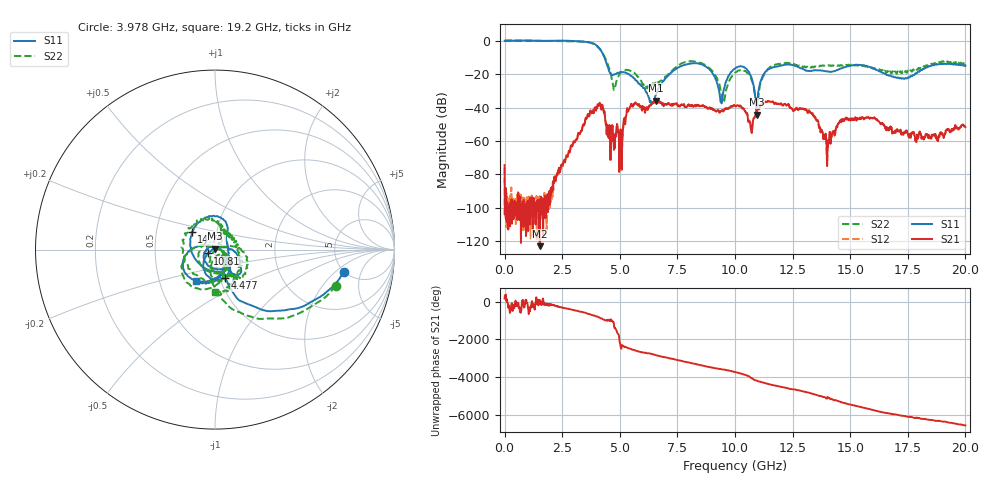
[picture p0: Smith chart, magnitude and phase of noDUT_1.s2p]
#  HZ  S  RI  R  50.00
! Rohde & Schwarz Vector Network Analyzer
! Rohde-Schwarz,ZNB20-2Port,1311601062102128,3.60
! Created: UTC 4/29/2024, 2:41:50 PM
! freq[Hz]  re:S11  im:S11  re:S21  im:S21  re:S12  im:S12  re:S22  im:S22
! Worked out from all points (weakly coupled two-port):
!   2007 points, 100 kHz to 20 GHz, reference 50 ohm
!   highest |S21| = -35.82 dB at 6.58 GHz (marker M1); lowest = -122.9 dB at 1.526 GHz (marker M2)
!   lowest |S11| = -44.3 dB at 10.94 GHz (marker M3), VSWR 1.01, Z = 49.8 + j0.585 ohm
!   |S11| at or under -10 dB: 4.332 GHz to end of sweep
!   |S22| runs from -44.0 to 0.1 dB; largest |S21 - S12| = 0.00078
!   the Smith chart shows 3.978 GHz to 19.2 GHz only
!   S11 on the Smith chart (normalised r, x): 3.978 GHz: 4.89, -2.63; 4.477 GHz: 1.06, -0.34; 10.81 GHz: 0.92, -0.04; 14.75 GHz: 0.76, +0.15; 19.2 GHz: 0.76, -0.28
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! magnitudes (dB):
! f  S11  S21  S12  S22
! 100 kHz  0.0  -74.4  -75.9  0.1
! 1.526 GHz  -0.1  -122.9  -98.3  -0.1
! 2.273 GHz  0.0  -80.3  -79.1  -0.3
! 3.34 GHz  -0.6  -54.2  -53.9  -0.6
! 3.978 GHz  -2.8  -40.8  -41.1  -3.1
! 4.477 GHz  -15.5  -55.2  -55.0  -14.0
! 5.025 GHz  -18.7  -53.8  -53.8  -19.2
! 5.414 GHz  -20.2  -40.8  -40.8  -17.7
! 6.58 GHz  -32.1  -35.8  -35.8  -25.5
! 6.67 GHz  -28.8  -36.7  -36.7  -24.9
! 8.365 GHz  -13.6  -38.5  -38.5  -12.8
! 9.412 GHz  -37.3  -41.9  -42.1  -31.8
! 10 GHz  -16.7  -38.8  -38.8  -19.3
! 10.81 GHz  -26.9  -46.6  -46.6  -27.1
! 10.94 GHz  -44.3  -42.1  -42.1  -43.2
! 11.6 GHz  -16.2  -36.4  -36.5  -15.4
! 13.34 GHz  -18.1  -43.8  -43.9  -15.6
! 13.99 GHz  -18.4  -69.3  -70.2  -15.0
! 14.75 GHz  -15.9  -47.3  -47.4  -15.0
! 16.67 GHz  -20.9  -53.6  -53.7  -19.5
! 19.2 GHz  -13.8  -53.3  -53.4  -12.6
! 20 GHz  -15.2  -51.7  -51.7  -14.2
